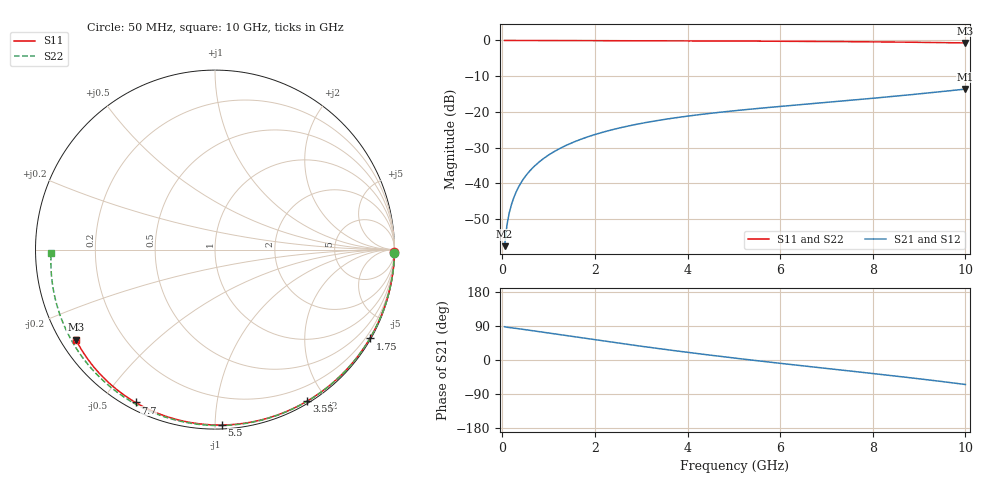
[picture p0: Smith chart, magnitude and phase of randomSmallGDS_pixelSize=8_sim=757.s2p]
! freq	dB(S11)	phase(S11)	dB(S12)	phase(S12)
!  dB(S21)	phase(S21)	dB(S22)	phase(S22)
!S-par simulation data
#  GHz  S  DB  R 50
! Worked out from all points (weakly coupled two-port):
!   200 points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, 50 MHz to 10 GHz, reference 50 ohm
!   highest |S21| = -13.61 dB at 10 GHz (marker M1); lowest = -57.6 dB at 50 MHz (marker M2)
!   lowest |S11| = -0.7 dB at 10 GHz (marker M3), VSWR 25.11, Z = 2.16 - j14.7 ohm
!   |S11| at or under -10 dB: nowhere
!   |S22| runs from -0.8 to 0.0 dB; largest |S21 - S12| = 0
!   S11 on the Smith chart (normalised r, x): 50 MHz: open; 1.75 GHz: 0.04, -3.76; 3.55 GHz: 0.02, -1.77; 5.5 GHz: 0.02, -1.04; 7.7 GHz: 0.03, -0.61; 10 GHz: 0.04, -0.29
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0.05  -0.00 -0.9  -57.57 87.8  -57.57 87.8  -0.00 -1.0
0.1  -0.00 -1.7  -51.69 86.5  -51.69 86.5  -0.00 -2.0
0.15  -0.00 -2.6  -48.27 85.6  -48.27 85.6  -0.00 -3.0
0.2  -0.00 -3.5  -45.83 84.9  -45.83 84.9  -0.00 -4.0
0.25  -0.00 -4.3  -43.93 84.1  -43.93 84.1  -0.00 -5.0
0.35  -0.00 -6.1  -41.05 82.5  -41.05 82.5  -0.01 -7.0
0.5  -0.01 -8.7  -37.99 80.0  -37.99 80.0  -0.01 -10.0
0.7  -0.01 -12.1  -35.10 76.5  -35.10 76.5  -0.02 -13.9
1  -0.02 -17.2  -32.06 71.1  -32.06 71.1  -0.03 -19.8
1.35  -0.03 -23.1  -29.54 64.9  -29.54 64.9  -0.04 -26.6
1.75  -0.05 -29.8  -27.40 57.7  -27.40 57.7  -0.05 -34.3
2.6  -0.07 -43.8  -24.28 43.0  -24.28 43.0  -0.08 -50.4
3.4  -0.10 -56.5  -22.31 29.8  -22.31 29.8  -0.11 -65.0
3.55  -0.10 -58.8  -22.00 27.4  -22.00 27.4  -0.12 -67.7
4.3  -0.13 -70.2  -20.69 15.7  -20.69 15.7  -0.15 -80.9
5.05  -0.17 -81.3  -19.62 4.6  -19.62 4.6  -0.19 -93.8
5.5  -0.19 -87.7  -19.05 -1.8  -19.05 -1.8  -0.22 -101.3
6.7  -0.27 -104.2  -17.67 -18.2  -17.67 -18.2  -0.30 -121.1
7.7  -0.36 -117.5  -16.53 -31.6  -16.53 -31.6  -0.41 -137.6
8.35  -0.43 -125.9  -15.76 -40.4  -15.76 -40.4  -0.49 -148.6
9.2  -0.55 -136.8  -14.69 -52.5  -14.69 -52.5  -0.62 -163.6
10  -0.69 -147.1  -13.61 -64.6  -13.61 -64.6  -0.79 -178.7
